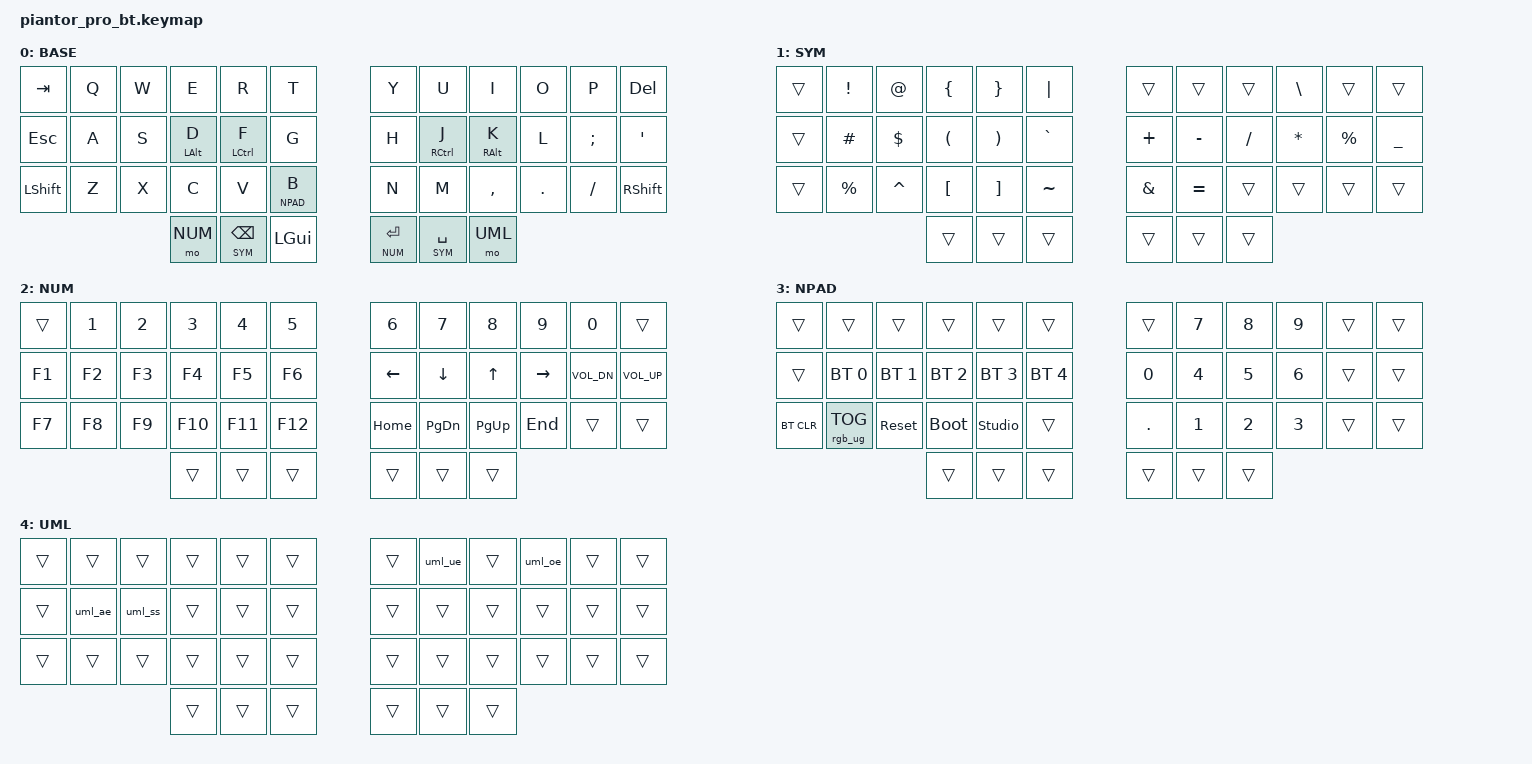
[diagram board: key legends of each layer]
/*
 * Piantor Pro BT - toshism layout
 * Ported from the Gergo (QMK) keymap, realigned to Gergo muscle memory:
 * combined SYM (=Gergo SYMB) and NUM (=Gergo NUMB: numbers + F-keys + arrows),
 * plus NUMPAD (=Gergo TEN) and UML (German umlauts via Compose).
 * See docs/2026-08-17-piantor-layout-design.md
 */

#include <behaviors.dtsi>
#include <dt-bindings/zmk/keys.h>
#include <dt-bindings/zmk/bt.h>
#include <dt-bindings/zmk/rgb.h>

// Layer indices
#define BASE 0
#define SYM  1
#define NUM  2
#define NPAD 3
#define UML  4

// Key-position groups for positional home-row mods.
//   0  1  2  3  4  5      6  7  8  9 10 11
//  12 13 14 15 16 17     18 19 20 21 22 23
//  24 25 26 27 28 29     30 31 32 33 34 35
//            36 37 38    39 40 41
#define KEYS_L 0 1 2 3 4 5 12 13 14 15 16 17 24 25 26 27 28 29
#define KEYS_R 6 7 8 9 10 11 18 19 20 21 22 23 30 31 32 33 34 35
#define THUMBS 36 37 38 39 40 41

/ {
    chosen {
        zmk,physical-layout = &default_layout;
    };

    behaviors {
        hml: home_row_mod_left {
            compatible = "zmk,behavior-hold-tap";
            #binding-cells = <2>;
            flavor = "balanced";
            tapping-term-ms = <200>;
            quick-tap-ms = <175>;
            require-prior-idle-ms = <150>;
            bindings = <&kp>, <&kp>;
            hold-trigger-key-positions = <KEYS_R THUMBS>;
            hold-trigger-on-release;
        };

        hmr: home_row_mod_right {
            compatible = "zmk,behavior-hold-tap";
            #binding-cells = <2>;
            flavor = "balanced";
            tapping-term-ms = <200>;
            quick-tap-ms = <175>;
            require-prior-idle-ms = <150>;
            bindings = <&kp>, <&kp>;
            hold-trigger-key-positions = <KEYS_L THUMBS>;
            hold-trigger-on-release;
        };

        lta: layer_tap_alpha {
            compatible = "zmk,behavior-hold-tap";
            #binding-cells = <2>;
            flavor = "balanced";
            tapping-term-ms = <200>;
            quick-tap-ms = <200>;
            require-prior-idle-ms = <150>;
            bindings = <&mo>, <&kp>;
        };

        lt2: layer_tap {
            compatible = "zmk,behavior-hold-tap";
            #binding-cells = <2>;
            flavor = "balanced";
            tapping-term-ms = <200>;
            quick-tap-ms = <200>;
            bindings = <&mo>, <&kp>;
        };
    };

    // Umlauts via the X11 Compose key: Menu (K_APP), then " + vowel / s + s.
    // Needs `setxkbmap -option compose:menu` on the host. Hold Shift for capitals.
    macros {
        uml_ae: umlaut_ae {
            compatible = "zmk,behavior-macro";
            #binding-cells = <0>;
            bindings = <&macro_tap &kp K_APP &kp DQT &kp A>;
        };

        uml_oe: umlaut_oe {
            compatible = "zmk,behavior-macro";
            #binding-cells = <0>;
            bindings = <&macro_tap &kp K_APP &kp DQT &kp O>;
        };

        uml_ue: umlaut_ue {
            compatible = "zmk,behavior-macro";
            #binding-cells = <0>;
            bindings = <&macro_tap &kp K_APP &kp DQT &kp U>;
        };

        uml_ss: umlaut_ss {
            compatible = "zmk,behavior-macro";
            #binding-cells = <0>;
            bindings = <&macro_tap &kp K_APP &kp S &kp S>;
        };
    };

    keymap {
        compatible = "zmk,keymap";

        base_layer {
            display-name = "BASE";
            // | TAB  |  Q |  W |  E |  R |  T |     |  Y |  U |  I |  O |  P | DEL |
            // | ESC  |  A |  S | D/A| F/C|  G |     |  H |J/C |K/A |  L |  ; |  '  |
            // | SHFT |  Z |  X |  C |  V | B* |     |  N |  M |  , |  . |  / | SHFT|
            //          NUM  BKSP/SYM  GUI  |  ENT/NUM  SPC/SYM  UML
            //   *B = tap B / hold NUMPAD
            bindings = <
&kp TAB       &kp Q &kp W &kp E       &kp R        &kp T                       &kp Y &kp U        &kp I       &kp O   &kp P    &kp DEL
&kp ESC       &kp A &kp S &hml LALT D &hml LCTRL F &kp G                       &kp H &hmr RCTRL J &hmr RALT K &kp L   &kp SEMI &kp SQT
&kp LSHFT     &kp Z &kp X &kp C       &kp V        &lta NPAD B                 &kp N &kp M        &kp COMMA   &kp DOT &kp FSLH &kp RSHFT
                                &mo NUM  &lt2 SYM BSPC  &kp LGUI    &lt2 NUM RET  &lt2 SYM SPACE  &mo UML
            >;
        };

        sym_layer {
            display-name = "SYM";
            // Symbols (= Gergo SYMB).
            // |  ! |  @ |  { |  } | "|"|   |    |   |   |  \ |   |   |
            // |  # |  $ |  ( |  ) |  ` |   |  + |  - |  / |  * |  % |  _ |
            // |  % |  ^ |  [ |  ] |  ~ |   |  & |  = |    |    |    |    |
            bindings = <
&trans &kp EXCL  &kp AT    &kp LBRC &kp RBRC &kp PIPE   &trans   &trans    &trans   &kp BSLH  &trans    &trans
&trans &kp HASH  &kp DLLR  &kp LPAR &kp RPAR &kp GRAVE  &kp PLUS &kp MINUS &kp FSLH &kp ASTRK &kp PRCNT &kp UNDER
&trans &kp PRCNT &kp CARET &kp LBKT &kp RBKT &kp TILDE  &kp AMPS &kp EQUAL &trans   &trans    &trans    &trans
                                       &trans &trans &trans    &trans &trans &trans
            >;
        };

        num_layer {
            display-name = "NUM";
            // Numbers + F-keys (left) + arrows/volume (right)  (= Gergo NUMB).
            // |   | 1 | 2 | 3 | 4 | 5 |   | 6 | 7 | 8 | 9 | 0 |   |
            // | F1| F2| F3| F4| F5| F6|   | ← | ↓ | ↑ | → |Vo-|Vo+|
            // | F7| F8| F9|F10|F11|F12|   |HOM|PDN|PUP|END|   |   |
            bindings = <
&trans  &kp N1  &kp N2 &kp N3  &kp N4  &kp N5      &kp N6   &kp N7    &kp N8   &kp N9  &kp N0       &trans
&kp F1  &kp F2  &kp F3 &kp F4  &kp F5  &kp F6      &kp LEFT &kp DOWN  &kp UP   &kp RIGHT &kp C_VOL_DN &kp C_VOL_UP
&kp F7  &kp F8  &kp F9 &kp F10 &kp F11 &kp F12     &kp HOME &kp PG_DN &kp PG_UP &kp END  &trans       &trans
                                &trans &trans &trans    &trans &trans &trans
            >;
        };

        numpad_layer {
            display-name = "NPAD";
            // Right-hand numpad (= Gergo TEN); Bluetooth/system keys on the left.
            // Reached by holding left-index B.
            // |   |   |   |   |    |     |   | 7 | 8 | 9 |   |   |
            // |   |BT0|BT1|BT2|BT3 |BT4  | 0 | 4 | 5 | 6 |   |   |
            // |BCLR|RGB|RST|BOOT|UNLK|   | . | 1 | 2 | 3 |   |   |
            bindings = <
&trans &trans       &trans          &trans     &trans      &trans          &trans  &kp N7 &kp N8 &kp N9 &trans &trans
&trans &bt BT_SEL 0 &bt BT_SEL 1    &bt BT_SEL 2 &bt BT_SEL 3 &bt BT_SEL 4   &kp N0  &kp N4 &kp N5 &kp N6 &trans &trans
&bt BT_CLR &rgb_ug RGB_TOG &sys_reset &bootloader &studio_unlock &trans   &kp DOT &kp N1 &kp N2 &kp N3 &trans &trans
                                     &trans &trans &trans    &trans &trans &trans
            >;
        };

        umlaut_layer {
            display-name = "UML";
            // German umlauts on their base letters. Reached by holding the right outer thumb.
            // |   |   |   |   |   |   |   |   | ü |   | ö |   |   |
            // |   | ä | ß |   |   |   |   |   |   |   |   |   |
            // |   |   |   |   |   |   |   |   |   |   |   |   |
            bindings = <
&trans &trans  &trans  &trans &trans &trans      &trans &uml_ue &trans &uml_oe &trans &trans
&trans &uml_ae &uml_ss &trans &trans &trans      &trans &trans  &trans &trans  &trans &trans
&trans &trans  &trans  &trans &trans &trans      &trans &trans  &trans &trans  &trans &trans
                                &trans &trans &trans    &trans &trans &trans
            >;
        };
    };
};
